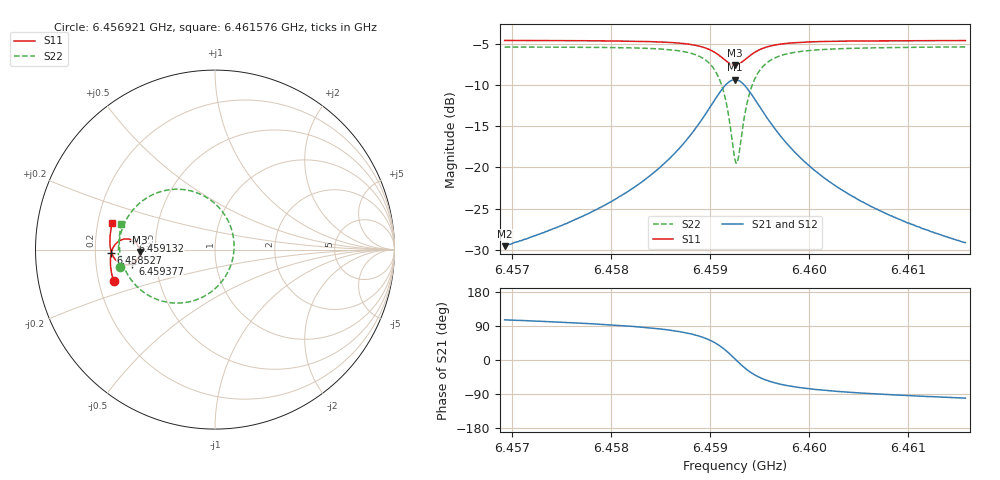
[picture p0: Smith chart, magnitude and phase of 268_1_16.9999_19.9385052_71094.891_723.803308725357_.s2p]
#  HZ  S  RI  R  50.00
! Rohde & Schwarz Vector Network Analyzer
! Rohde-Schwarz,ZNB20-2Port,1311601062101988,3.16
! Created: UTC 3/20/2024, 11:04:04 PM
! freq[Hz]  re:S11  im:S11  re:S21  im:S21  re:S12  im:S12  re:S22  im:S22
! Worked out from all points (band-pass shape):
!   401 points, 6.456921 GHz to 6.461576 GHz, reference 50 ohm
!   highest |S21| = -9.31 dB at 6.459249 GHz (marker M1); lowest = -29.6 dB at 6.456921 GHz (marker M2)
!   |S21| within 3 dB of the highest: 6.459016 GHz to 6.459481 GHz (465.2 kHz wide, 0.0072 % of centre)
!   lowest |S11| = -7.5 dB at 6.459249 GHz (marker M3), VSWR 2.45, Z = 20.4 - j0.625 ohm
!   |S11| at or under -10 dB: nowhere
!   |S22| runs from -19.5 to -5.3 dB; largest |S21 - S12| = 0.013
!   S11 on the Smith chart (normalised r, x): 6.456921 GHz: 0.26, -0.14; 6.458527 GHz: 0.27, -0.01; 6.459132 GHz: 0.37, +0.05; 6.459377 GHz: 0.37, -0.07; 6.461576 GHz: 0.26, +0.12
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6.4569212e9  -0.565 -0.1772  -0.00916 0.0319  -0.00753 0.0321  -0.5314 -0.0944
6.457701e9  -0.5799 -0.1094  -0.00599 0.0499  -0.00354 0.0494  -0.5382 -0.0038
6.4581548e9  -0.5831 -0.0639  0.000245 0.0707  0.00358 0.0694  -0.53 0.0684
6.4584807e9  -0.5797 -0.0249  0.0134 0.0981  0.0173 0.0954  -0.5066 0.1421
6.4585272e9  -0.5782 -0.0186  0.0166 0.1033  0.0207 0.1006  -0.5003 0.1552
6.4587367e9  -0.5664 0.0133  0.0424 0.1351  0.0465 0.1304  -0.452 0.2271
6.458888e9  -0.5454 0.0395  0.0846 0.1654  0.088 0.159  -0.3741 0.2916
6.4590393e9  -0.4996 0.0594  0.1758 0.1847  0.1769 0.1774  -0.2072 0.3363
6.4591324e9  -0.4554 0.0495  0.2651 0.1542  0.2655 0.1483  -0.0417 0.2874
6.4591789e9  -0.4344 0.0311  0.3086 0.1119  0.31 0.1066  0.041 0.2122
6.4592488e9  -0.4196 -0.0126  0.3421 0.016  0.3456 0.00903  0.1062 0.0341
6.4592604e9  -0.42 -0.0204  0.342 -0.00165  0.3459 -0.00925  0.106 0.000671
6.4592837e9  -0.4234 -0.0359  0.3365 -0.0361  0.3404 -0.045  0.0954 -0.0645
6.4593302e9  -0.4387 -0.0617  0.3086 -0.0956  0.3109 -0.1072  0.0387 -0.1769
6.4593768e9  -0.4605 -0.0778  0.2672 -0.1363  0.2664 -0.1494  -0.0449 -0.2516
6.4594699e9  -0.5034 -0.0846  0.1835 -0.1676  0.1774 -0.1791  -0.2121 -0.2982
6.4596212e9  -0.5469 -0.0642  0.0965 -0.1545  0.088 -0.1607  -0.3786 -0.2503
6.4597841e9  -0.5684 -0.0367  0.0517 -0.1273  0.0441 -0.13  -0.4589 -0.1791
6.4600285e9  -0.5811 -0.00112  0.0227 -0.096  0.0169 -0.0968  -0.5071 -0.0972
6.4604009e9  -0.5857 0.0424  0.00593 -0.0684  0.00203 -0.068  -0.5297 -0.0139
6.4608082e9  -0.5837 0.0831  -0.00112 -0.0514  -0.00414 -0.0506  -0.5335 0.0502
6.4615763e9  -0.5716 0.1509  -0.00644 -0.0344  -0.00808 -0.0334  -0.5225 0.1406
